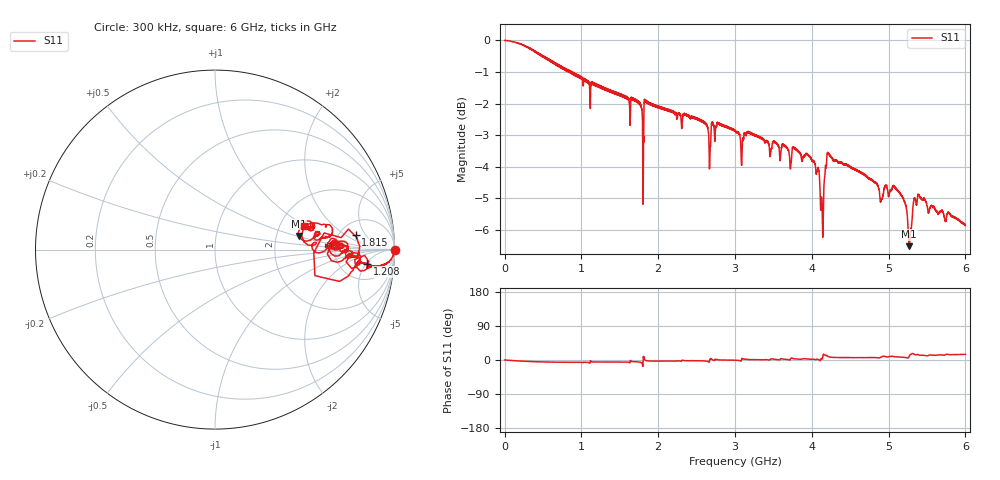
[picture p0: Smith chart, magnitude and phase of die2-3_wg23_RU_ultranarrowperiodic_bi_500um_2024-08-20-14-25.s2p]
!Keysight Technologies,P9374A,MY57304198,A.17.20.09
!Date: Tuesday, August 20, 2024 14:25:22
!Correction: S11(C  1-Port  )
!S21(C  1-Port  )
!S12(Off)
!S22(Off)
!S2P File: Measurements: S11, S21, S12, S22:
# Hz S  dB  R 50
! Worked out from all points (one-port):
!   6000 points, 300 kHz to 6 GHz, reference 50 ohm
!   lowest |S11| = -6.5 dB at 5.267 GHz (marker M1), VSWR 2.79, Z = 134 + j26.1 ohm
!   |S11| at or under -10 dB: nowhere
!   S11 on the Smith chart (normalised r, x): 300 kHz: open; 1.208 GHz: 9, -5; 1.815 GHz: 7.15, +3.00; 6 GHz: 2.70, +0.95
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300000  0.00 -0.0  -200.00 45.0  -200.00 45.0  -200.00 45.0
4.183488e8  -0.36 -4.5  -200.00 45.0  -200.00 45.0  -200.00 45.0
1.000417e9  -1.20 -6.2  -200.00 45.0  -200.00 45.0  -200.00 45.0
1.208441e9  -1.39 -5.4  -200.00 45.0  -200.00 45.0  -200.00 45.0
1.663494e9  -1.84 -4.1  -200.00 45.0  -200.00 45.0  -200.00 45.0
1.771507e9  -2.03 -6.3  -200.00 45.0  -200.00 45.0  -200.00 45.0
1.814512e9  -2.07 5.8  -200.00 45.0  -200.00 45.0  -200.00 45.0
1.845515e9  -1.97 -1.6  -200.00 45.0  -200.00 45.0  -200.00 45.0
2.000533e9  -2.12 -2.8  -200.00 45.0  -200.00 45.0  -200.00 45.0
2.661611e9  -3.28 -5.9  -200.00 45.0  -200.00 45.0  -200.00 45.0
3.00065e9  -2.88 -0.5  -200.00 45.0  -200.00 45.0  -200.00 45.0
4.000767e9  -3.80 2.0  -200.00 45.0  -200.00 45.0  -200.00 45.0
4.11178e9  -5.17 -1.0  -200.00 45.0  -200.00 45.0  -200.00 45.0
4.139783e9  -5.94 3.9  -200.00 45.0  -200.00 45.0  -200.00 45.0
4.176787e9  -4.02 12.8  -200.00 45.0  -200.00 45.0  -200.00 45.0
4.229793e9  -3.64 8.0  -200.00 45.0  -200.00 45.0  -200.00 45.0
5.000883e9  -4.92 8.8  -200.00 45.0  -200.00 45.0  -200.00 45.0
5.182905e9  -4.99 7.4  -200.00 45.0  -200.00 45.0  -200.00 45.0
5.266914e9  -6.51 9.2  -200.00 45.0  -200.00 45.0  -200.00 45.0
5.31192e9  -5.46 17.4  -200.00 45.0  -200.00 45.0  -200.00 45.0
5.406931e9  -4.97 12.8  -200.00 45.0  -200.00 45.0  -200.00 45.0
6e9  -5.86 14.8  -200.00 45.0  -200.00 45.0  -200.00 45.0
